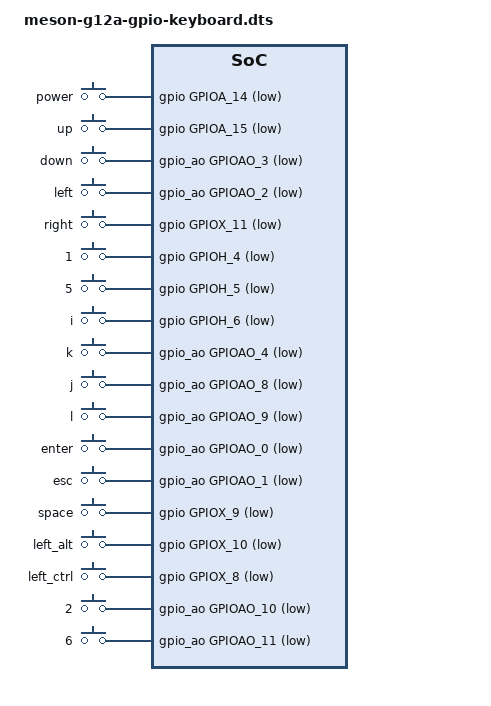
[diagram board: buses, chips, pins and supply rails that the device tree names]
/dts-v1/;
/plugin/;

#include <dt-bindings/input/input.h>
#include <dt-bindings/gpio/gpio.h>
#include <dt-bindings/gpio/meson-g12a-gpio.h>

/ {
        compatible = "radxa,zero", "amlogic,g12a";

        fragment@0 {
                target-path = "/";
                __overlay__ {
                        gpio-keys-polled {
                                compatible = "gpio-keys-polled";
                                poll-interval = <100>;
                                autorepeat;

                                power-button {
                                        label = "power";
                                        linux,code = <KEY_POWER>;
                                        gpios = <&gpio GPIOA_14 (GPIO_ACTIVE_LOW)>;
                                        debounce-interval = <20>;
                                };

                                up-key {
                                        label = "up";
                                        linux,code = <KEY_UP>;
                                        gpios = <&gpio GPIOA_15 (GPIO_ACTIVE_LOW)>;
                                        debounce-interval = <20>;
                                };


                                down-key {
                                        label = "down";
                                        linux,code = <KEY_DOWN>;
                                        gpios = <&gpio_ao GPIOAO_3 (GPIO_ACTIVE_LOW)>;
                                        debounce-interval = <20>;
                                };

                                left-key {
                                        label = "left";
                                        linux,code = <KEY_LEFT>;
                                        gpios = <&gpio_ao GPIOAO_2 (GPIO_ACTIVE_LOW)>;
                                        debounce-interval = <20>;
                                };

                                right-key {
                                        label = "right";
                                        linux,code = <KEY_RIGHT>;
                                        gpios = <&gpio GPIOX_11 (GPIO_ACTIVE_LOW)>;
                                        debounce-interval = <20>;
                                };

                                1-key {
                                        label = "1";
                                        linux,code = <KEY_1>;
                                        gpios = <&gpio GPIOH_4 (GPIO_ACTIVE_LOW)>;
                                        debounce-interval = <20>;
                                };

                                5-key {
                                        label = "5";
                                        linux,code = <KEY_5>;
                                        gpios = <&gpio GPIOH_5 (GPIO_ACTIVE_LOW)>;
                                        debounce-interval = <20>;
                                };

                                i-key {
                                        label = "i";
                                        linux,code = <KEY_I>;
                                        gpios = <&gpio GPIOH_6 (GPIO_ACTIVE_LOW)>;
                                        debounce-interval = <20>;
                                };

                                k-key {
                                        label = "k";
                                        linux,code = <KEY_K>;
                                        gpios = <&gpio_ao GPIOAO_4 (GPIO_ACTIVE_LOW)>;
                                        debounce-interval = <20>;
                                };

                                j-key {
                                        label = "j";
                                        linux,code = <KEY_J>;
                                        gpios = <&gpio_ao GPIOAO_8 (GPIO_ACTIVE_LOW)>;
                                        debounce-interval = <20>;
                                };

                                l-key {
                                        label = "l";
                                        linux,code = <KEY_L>;
                                        gpios = <&gpio_ao GPIOAO_9 (GPIO_ACTIVE_LOW)>;
                                        debounce-interval = <20>;
                                };

                                enter-key {
                                        label = "enter";
                                        linux,code = <KEY_ENTER>;
                                        gpios = <&gpio_ao GPIOAO_0 (GPIO_ACTIVE_LOW)>;
                                        debounce-interval = <20>;
                                };

                                esc-key {
                                        label = "esc";
                                        linux,code = <KEY_ESC>;
                                        gpios = <&gpio_ao GPIOAO_1 (GPIO_ACTIVE_LOW)>;
                                        debounce-interval = <20>;
                                };

                                space-key {
                                        label = "space";
                                        linux,code = <KEY_SPACE>;
                                        gpios = <&gpio GPIOX_9 (GPIO_ACTIVE_LOW)>;
                                        debounce-interval = <20>;
                                };

                                left_alt-key {
                                        label = "left_alt";
                                        linux,code = <KEY_LEFTALT>;
                                        gpios = <&gpio GPIOX_10 (GPIO_ACTIVE_LOW)>;
                                        debounce-interval = <20>;
                                };

                                left_ctrl-key {
                                        label = "left_ctrl";
                                        linux,code = <KEY_LEFTCTRL>;
                                        gpios = <&gpio GPIOX_8 (GPIO_ACTIVE_LOW)>;
                                        debounce-interval = <20>;
                                };

                                2-key {
                                        label = "2";
                                        linux,code = <KEY_2>;
                                        gpios = <&gpio_ao GPIOAO_10 (GPIO_ACTIVE_LOW)>;
                                        debounce-interval = <20>;
                                };

                                6-key {
                                        label = "6";
                                        linux,code = <KEY_6>;
                                        gpios = <&gpio_ao GPIOAO_11 (GPIO_ACTIVE_LOW)>;
                                        debounce-interval = <20>;
                                };

                        };
                };
        };
};
